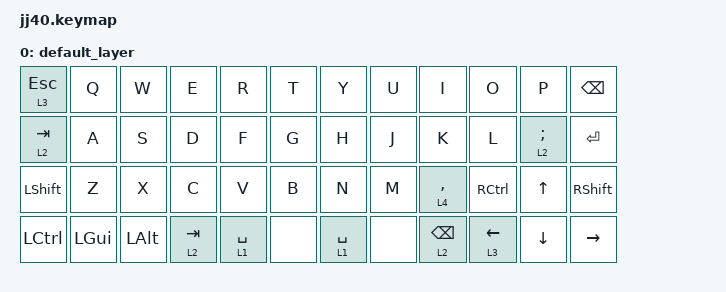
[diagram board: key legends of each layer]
#include <behaviors.dtsi>
#include <dt-bindings/zmk/bt.h>
#include <dt-bindings/zmk/keys.h>
#include <dt-bindings/zmk/keys.h>
#include <dt-bindings/zmk/mouse.h>

/ {

    keymap {
        compatible = "zmk,keymap";

        default_layer {
            bindings = <
&lt 3 ESC  &kp Q     &kp W     &kp E      &kp R        &kp T  &kp Y        &kp U  &kp I            &kp O       &kp P            &kp BACKSPACE
&lt 2 TAB  &kp A     &kp S     &kp D      &kp F        &kp G  &kp H        &kp J  &kp K            &kp L       &lt 2 SEMICOLON  &kp ENTER
&kp LSHFT  &kp Z     &kp X     &kp C      &kp V        &kp B  &kp N        &kp M  &lt 4 COMMA      &kp RCTRL   &kp UP_ARROW     &kp RSHIFT
&kp LCTRL  &kp LGUI  &kp LALT  &lt 2 TAB  &lt 1 SPACE  &none  &lt 1 SPACE  &none  &lt 2 BACKSPACE  &lt 3 LEFT  &kp DOWN         &kp RIGHT
            >;
        };

    };
};


